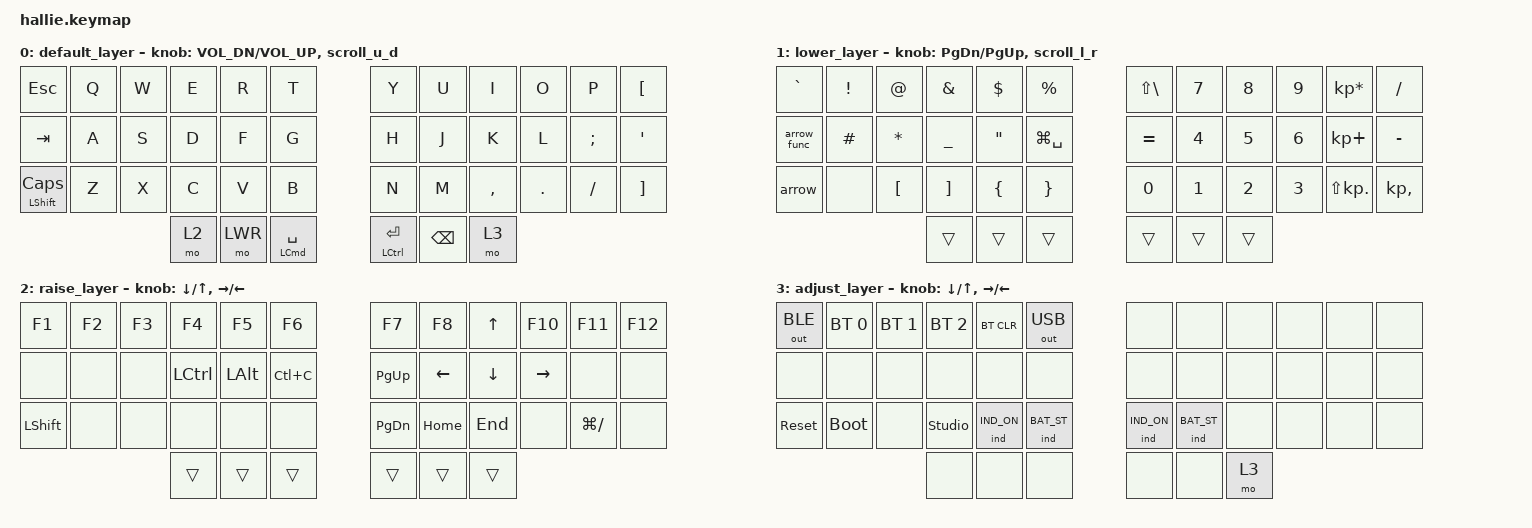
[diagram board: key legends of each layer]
#undef ZMK_BEHAVIORS_KEEP_ALL

#define ZMK_BEHAVIORS_KEEP_IND
#define ZMK_BEHAVIORS_KEEP_BT
#define ZMK_BEHAVIORS_KEEP_GRESC
#define ZMK_BEHAVIORS_KEEP_SYS_RESET
#define ZMK_BEHAVIORS_KEEP_BOOTLOADER
#define ZMK_BEHAVIORS_KEEP_CAPS_WORD
#define ZMK_BEHAVIORS_KEEP_KEY_REPEAT
#define ZMK_BEHAVIORS_KEEP_KT
#define ZMK_BEHAVIORS_KEEP_LT
#define ZMK_BEHAVIORS_KEEP_MT
#define ZMK_BEHAVIORS_KEEP_SK
#define ZMK_BEHAVIORS_KEEP_STICKY_LAYER
#define ZMK_BEHAVIORS_KEEP_TO
#define ZMK_BEHAVIORS_KEEP_TOG
#define ZMK_BEHAVIORS_KEEP_TRANS

#include <behaviors/indicators.dtsi>
#include <dt-bindings/zmk/indicators.h>
#include <behaviors.dtsi>
#include <dt-bindings/zmk/bt.h>
#include <dt-bindings/zmk/keys.h>
#include <dt-bindings/zmk/outputs.h>

#define DEF 0
#define LWR 1
#define RSE 2
#define ADJ 3

&lt { quick_tap_ms = <200>; };

&mt { quick_tap_ms = <200>; };

/ {
    combos {
        compatible = "zmk,combos";

        combo_comma {
            bindings = <&kp LS(N6)>;
            key-positions = <15 16>;
        };

        combo_dot {
            bindings = <&kp LS(KP_DOT)>;
            key-positions = <19 20>;
        };

        left_parenthesis {
            bindings = <&kp LEFT_PARENTHESIS>;
            key-positions = <4 5>;
        };

        right_parenthesis {
            bindings = <&kp RIGHT_PARENTHESIS>;
            key-positions = <6 7>;
        };

        screen {
            bindings = <&screen>;
            key-positions = <16 17>;
        };
    };

    behaviors {
        tap_toggle_layer: tap_toggle_layer {
            compatible = "zmk,behavior-hold-tap";
            label = "TAP_TOGGLE_LAYER";
            bindings = <&mo>, <&tog>;

            #binding-cells = <2>;
            tapping-term-ms = <200>;
        };
    };

    macros {
        arrow_func: arrow_func {
            compatible = "zmk,behavior-macro";
            #binding-cells = <0>;
            bindings = <&kp EQUAL &kp LEFT_PARENTHESIS &kp RIGHT_PARENTHESIS &kp EQUAL &kp GREATER_THAN>;
            label = "ARROW_FUNC";
        };

        screen: screen {
            compatible = "zmk,behavior-macro";
            #binding-cells = <0>;
            bindings = <&sk LEFT_COMMAND &sk LEFT_SHIFT &kp N9>;
            label = "SCREEN";
        };

        save_macro: save_macro {
            compatible = "zmk,behavior-macro";
            #binding-cells = <0>;
            bindings = <&sk LEFT_COMMAND &sk LEFT_SHIFT &kp S>;
            label = "SAVE_MACRO";
        };

        arrow: arrow {
            compatible = "zmk,behavior-macro";
            #binding-cells = <0>;
            bindings = <&kp EQUAL &kp GREATER_THAN>;
            label = "ARROW";
        };
    };

    keymap {
        compatible = "zmk,keymap";

        default_layer {
            bindings = <
&kp ESC         &kp Q  &kp W  &kp E  &kp R    &kp T                     &kp Y            &kp U          &kp I      &kp O    &kp P      &kp LEFT_BRACKET
&kp TAB         &kp A  &kp S  &kp D  &kp F    &kp G                     &kp H            &kp J          &kp K      &kp L    &kp SEMI   &kp SQT
&mt LSHFT CLCK  &kp Z  &kp X  &kp C  &kp V    &kp B                     &kp N            &kp M          &kp COMMA  &kp DOT  &kp SLASH  &kp RIGHT_BRACKET
                              &mo 2  &mo LWR  &mt LEFT_COMMAND SPACE    &mt LCTRL ENTER  &kp BACKSPACE  &mo 3
            >;

            sensor-bindings = <&inc_dec_kp C_VOL_DN C_VOL_UP &scroll_u_d>;
        };

        lower_layer {
            bindings = <
&kp GRAVE    &kp EXCL  &kp AT            &kp AMPERSAND      &kp DLLR           &kp PRCNT        &kp LS(BACKSLASH)  &kp N7  &kp N8  &kp N9  &kp KP_MULTIPLY  &kp SLASH
&arrow_func  &kp HASH  &kp ASTRK         &kp UNDERSCORE     &kp DOUBLE_QUOTES  &kp LG(SPACE)    &kp EQUAL          &kp N4  &kp N5  &kp N6  &kp KP_PLUS      &kp MINUS
&arrow       &none     &kp LEFT_BRACKET  &kp RIGHT_BRACKET  &kp LEFT_BRACE     &kp RBRC         &kp N0             &kp N1  &kp N2  &kp N3  &kp LS(KP_DOT)   &kp KP_COMMA
                                         &trans             &trans             &trans           &trans             &trans  &trans
            >;

            sensor-bindings = <&inc_dec_kp PG_DN PG_UP &scroll_l_r>;
        };

        raise_layer {
            bindings = <
&kp F1          &kp F2  &kp F3  &kp F4            &kp F5        &kp F6       &kp F7     &kp F8    &kp UP_ARROW  &kp F10    &kp F11        &kp F12
&none           &none   &none   &kp LEFT_CONTROL  &kp LEFT_ALT  &kp LC(C)    &kp PG_UP  &kp LEFT  &kp DOWN      &kp RIGHT  &none          &none
&kp LEFT_SHIFT  &none   &none   &none             &none         &none        &kp PG_DN  &kp HOME  &kp END       &none      &kp LG(SLASH)  &none
                                &trans            &trans        &trans       &trans     &trans    &trans
            >;

            sensor-bindings = <&inc_dec_kp DOWN_ARROW UP_ARROW &inc_dec_kp RIGHT_ARROW LEFT_ARROW>;
        };

        adjust_layer {
            bindings = <
&out OUT_BLE  &bt BT_SEL 0  &bt BT_SEL 1  &bt BT_SEL 2    &bt BT_CLR   &out OUT_USB    &none        &none        &none  &none  &none  &none
&none         &none         &none         &none           &none        &none           &none        &none        &none  &none  &none  &none
&sys_reset    &bootloader   &none         &studio_unlock  &ind IND_ON  &ind BAT_ST     &ind IND_ON  &ind BAT_ST  &none  &none  &none  &none
                                          &none           &none        &none           &none        &none        &mo 3
            >;

            sensor-bindings = <&inc_dec_kp DOWN_ARROW UP_ARROW &inc_dec_kp RIGHT_ARROW LEFT_ARROW>;
        };

        extra1 { status = "reserved"; };

        extra2 { status = "reserved"; };

        extra3 { status = "reserved"; };

        extra4 { status = "reserved"; };
    };
};
